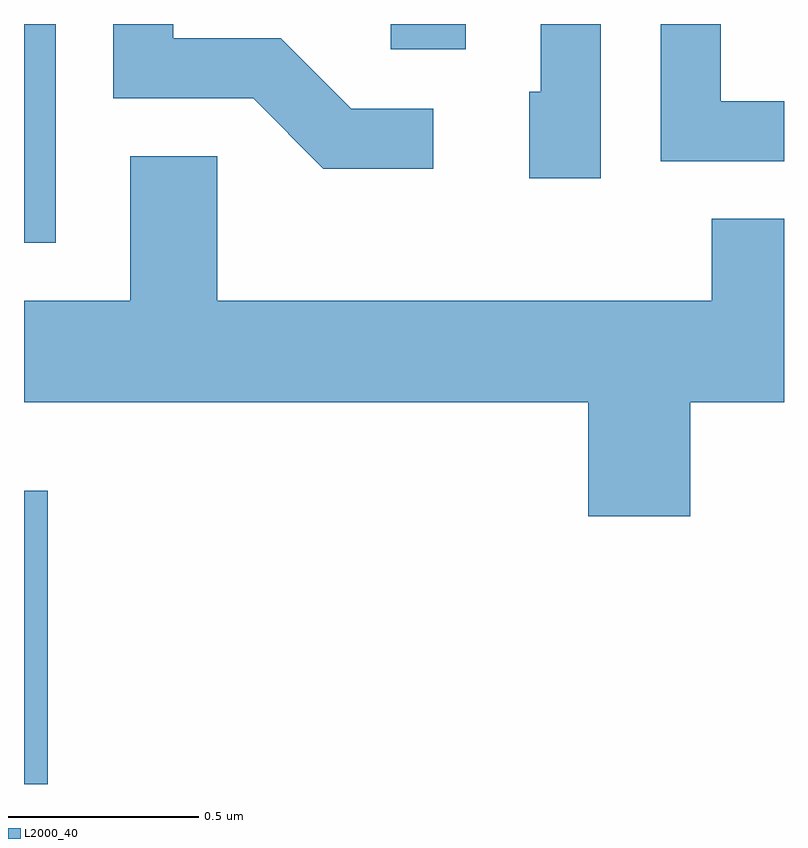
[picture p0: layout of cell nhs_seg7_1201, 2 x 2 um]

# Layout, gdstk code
import gdstk
lib = gdstk.Library(unit=1e-6, precision=1e-09)
def R(c, l, rs):  # rectangles x0, y0, x1, y1
    for r in rs: c.add(gdstk.rectangle(r[:2], r[2:], *l))
def P(c, l, *ps):  # polygons
    for p in ps: c.add(gdstk.Polygon(p, *l))
L2000_40 = (2000, 40)

nhs_seg7_1201 = lib.new_cell('nhs_seg7_1201')
R(nhs_seg7_1201, L2000_40, [(193.611,1773.252,193.674,1774.024), (193.611,1774.676,193.694,1775.252), (194.576,1775.186,194.774,1775.252)])
P(nhs_seg7_1201, L2000_40, [(195.129,1775.252),(194.971,1775.252),(194.971,1775.074),(194.941,1775.074),(194.941,1774.846),(195.129,1774.846)],
  [(195.611,1775.049),(195.444,1775.049),(195.444,1775.252),(195.286,1775.252),(195.286,1774.891),(195.611,1774.891)],
  [(194.688,1775.029),(194.472,1775.029),(194.287,1775.214),(194.004,1775.214),(194.004,1775.252),(193.846,1775.252),(193.846,1775.056),(194.214,1775.056),(194.399,1774.871),(194.688,1774.871)],
  [(195.364,1774.256),(195.611,1774.256),(195.611,1774.739),(195.421,1774.739),(195.421,1774.524),(194.119,1774.524),(194.119,1774.904),(193.891,1774.904),(193.891,1774.524),(193.611,1774.524),(193.611,1774.256),(195.096,1774.256),(195.096,1773.956),(195.364,1773.956)])

lib.write_gds('nhs_seg7_1201.gds')
